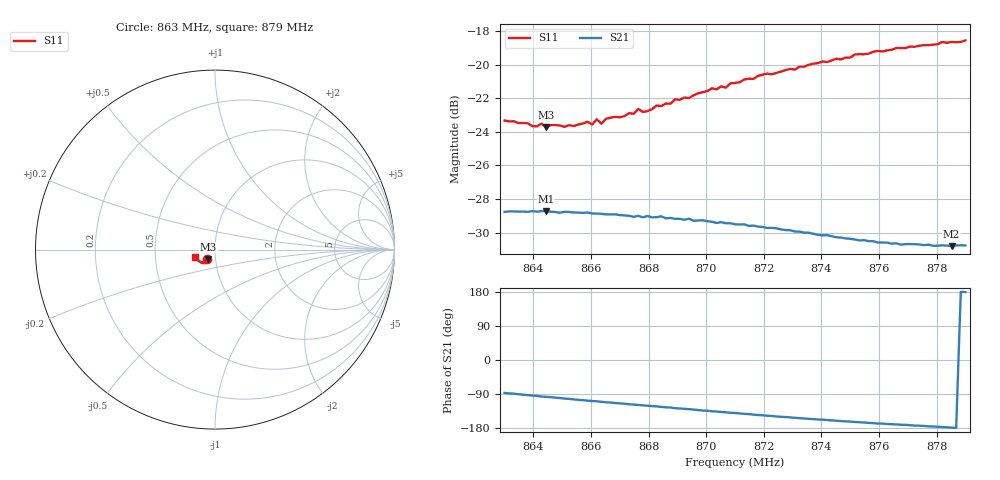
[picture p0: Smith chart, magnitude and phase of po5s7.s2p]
# HZ S RI R 50
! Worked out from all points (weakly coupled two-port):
!   101 points, 863 MHz to 879 MHz, reference 50 ohm
!   highest |S21| = -28.71 dB at 864.44 MHz (marker M1); lowest = -30.8 dB at 878.52 MHz (marker M2)
!   lowest |S11| = -23.7 dB at 864.44 MHz (marker M3), VSWR 1.14, Z = 46.1 - j4.89 ohm
!   |S11| at or under -10 dB: start of sweep to end of sweep
!   S12 and S22 are empty: the file has one direction only
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8.63e8  -0.0433 -0.0527  0.00198 -0.0364  0 0  0 0
8.6396e8  -0.0385 -0.0532  -0.00241 -0.0365  0 0  0 0
8.6428e8  -0.0381 -0.0549  -0.00407 -0.0364  0 0  0 0
8.6444e8  -0.0379 -0.0528  -0.00452 -0.0364  0 0  0 0
8.6572e8  -0.0338 -0.0577  -0.01 -0.0348  0 0  0 0
8.6588e8  -0.0362 -0.0572  -0.0108 -0.0346  0 0  0 0
8.6604e8  -0.0334 -0.0574  -0.0113 -0.0342  0 0  0 0
8.662e8  -0.0348 -0.0593  -0.0117 -0.0341  0 0  0 0
8.6636e8  -0.0341 -0.0574  -0.0125 -0.0337  0 0  0 0
8.6652e8  -0.0345 -0.0598  -0.0132 -0.0333  0 0  0 0
8.6748e8  -0.0338 -0.0629  -0.0164 -0.0312  0 0  0 0
8.6764e8  -0.0354 -0.0648  -0.0169 -0.0311  0 0  0 0
8.678e8  -0.0346 -0.0636  -0.0174 -0.0305  0 0  0 0
8.6844e8  -0.0362 -0.066  -0.0196 -0.0294  0 0  0 0
8.6892e8  -0.0387 -0.0687  -0.021 -0.0276  0 0  0 0
8.694e8  -0.0385 -0.0696  -0.0222 -0.0267  0 0  0 0
8.702e8  -0.0437 -0.0729  -0.0242 -0.024  0 0  0 0
8.71e8  -0.0481 -0.074  -0.0256 -0.0216  0 0  0 0
8.7372e8  -0.067 -0.0752  -0.0286 -0.0128  0 0  0 0
8.7644e8  -0.0915 -0.0624  -0.0288 -0.00537  0 0  0 0
8.7852e8  -0.1075 -0.046  -0.0288 -0.00078  0 0  0 0
8.79e8  -0.1113 -0.0395  -0.0289 0.000372  0 0  0 0
